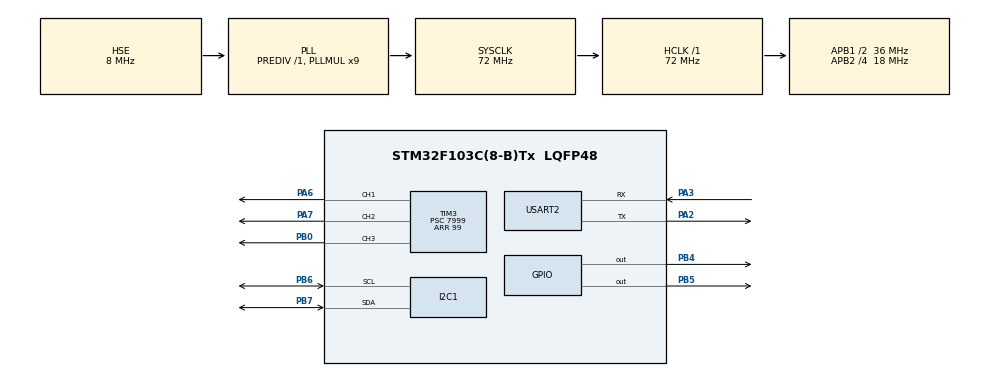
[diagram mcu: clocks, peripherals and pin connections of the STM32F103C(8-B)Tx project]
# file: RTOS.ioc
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FREERTOS.BinarySemaphores01=BinarySem_LCD_1,Dynamic,NULL;BinarySem_LCD_2,Dynamic,NULL;BinarySem_UART_1,Dynamic,NULL;BinarySem_UART_2,Dynamic,NULL;BinarySem_UART_3,Dynamic,NULL
FREERTOS.INCLUDE_uxTaskPriorityGet=1
FREERTOS.INCLUDE_vTaskDelete=1
FREERTOS.INCLUDE_vTaskPrioritySet=1
FREERTOS.INCLUDE_vTaskSuspend=1
FREERTOS.Mutexes01=UARTMutex,Dynamic,NULL
FREERTOS.Tasks01=Read_Sensor_MPU,24,128,Read_Sensor_MPUTask_func,Default,NULL,Dynamic,NULL,NULL;Read_Sensor_SHT,24,128,Read_Sensor_SHT21Task_func,Default,NULL,Dynamic,NULL,NULL;Show_LCD1602,24,128,Show_LCD1602_Task_func,Default,NULL,Dynamic,NULL,NULL;Send_UART,24,128,Send_UART_Task_func,Default,NULL,Dynamic,NULL,NULL
FREERTOS.configMINIMAL_STACK_SIZE=128
Mcu.Family=STM32F1
Mcu.Name=STM32F103C(8-B)Tx
Mcu.Package=LQFP48
NVIC.PriorityGroup=NVIC_PRIORITYGROUP_4
NVIC.TIM4_IRQn=true\:15\:0\:false\:false\:true\:false\:false\:true\:true
NVIC.TimeBase=TIM4_IRQn
NVIC.TimeBaseIP=TIM4
NVIC.USART2_IRQn=true\:5\:0\:false\:false\:true\:true\:true\:true\:true
PA13.Mode=Serial_Wire
PA13.Signal=SYS_JTMS-SWDIO
PA14.Mode=Serial_Wire
PA14.Signal=SYS_JTCK-SWCLK
PA2.Mode=Asynchronous
PA2.Signal=USART2_TX
PA3.Mode=Asynchronous
PA3.Signal=USART2_RX
PA6.Signal=S_TIM3_CH1
PA7.Signal=S_TIM3_CH2
PB0.Signal=S_TIM3_CH3
PB4.PinState=GPIO_PIN_SET
PB4.Signal=GPIO_Output
PB5.Signal=GPIO_Output
PB6.Mode=I2C
PB6.Signal=I2C1_SCL
PB7.Mode=I2C
PB7.Signal=I2C1_SDA
PD0-OSC_IN.Mode=HSE-External-Oscillator
PD0-OSC_IN.Signal=RCC_OSC_IN
PD1-OSC_OUT.Mode=HSE-External-Oscillator
PD1-OSC_OUT.Signal=RCC_OSC_OUT
ProjectManager.HeapSize=0x200
ProjectManager.StackSize=0x400
ProjectManager.TargetToolchain=MDK-ARM V5.32
RCC.ADCPresc=RCC_ADCPCLK2_DIV6
RCC.AHBFreq_Value=72000000
RCC.APB1CLKDivider=RCC_HCLK_DIV2
RCC.APB1Freq_Value=36000000
RCC.APB1TimFreq_Value=72000000
RCC.APB2CLKDivider=RCC_HCLK_DIV4
RCC.APB2Freq_Value=18000000
RCC.APB2TimFreq_Value=36000000
RCC.HCLKFreq_Value=72000000
RCC.PLLMUL=RCC_PLL_MUL9
RCC.PLLSourceVirtual=RCC_PLLSOURCE_HSE
RCC.SYSCLKFreq_VALUE=72000000
RCC.SYSCLKSource=RCC_SYSCLKSOURCE_PLLCLK
RCC.USBFreq_Value=72000000
SH.S_TIM3_CH1.0=TIM3_CH1,PWM Generation1 CH1
SH.S_TIM3_CH2.0=TIM3_CH2,PWM Generation2 CH2
SH.S_TIM3_CH3.0=TIM3_CH3,PWM Generation3 CH3
TIM3.Channel-PWM\ Generation1\ CH1=TIM_CHANNEL_1
TIM3.Channel-PWM\ Generation2\ CH2=TIM_CHANNEL_2
TIM3.Channel-PWM\ Generation3\ CH3=TIM_CHANNEL_3
TIM3.Period=99
TIM3.Prescaler=7999
USART2.VirtualMode=VM_ASYNC
VP_FREERTOS_VS_CMSIS_V2.Mode=CMSIS_V2
VP_SYS_VS_tim4.Mode=TIM4
VP_TIM3_VS_ClockSourceINT.Mode=Internal
board=custom

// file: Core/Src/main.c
/* USER CODE BEGIN Header */
/**
  ******************************************************************************
  * @file           : main.c
  * @brief          : Main program body
  ******************************************************************************
  * @attention
  *
  * Copyright (c) 2023 STMicroelectronics.
  * All rights reserved.
  *
  * This software is licensed under terms that can be found in the LICENSE file
  * in the root directory of this software component.
  * If no LICENSE file comes with this software, it is provided AS-IS.
  *
  ******************************************************************************
	*Embedded Design System Project
	*Developer: Phan Duc Manh 20202452
	*
  */
/* USER CODE END Header */
#include "main.h"
#include "cmsis_os.h"

/* USER CODE BEGIN Includes */

/*
			Peripheral
*/
#include "sht2x.h"
#include "i2c-lcd.h"
#include "mpu6050.h"
#include "flash.h"
#include "setScheduler.h"

/*
			Command handle
*/
#include "uart.h"

/* USER CODE END Includes */

I2C_HandleTypeDef hi2c1;

TIM_HandleTypeDef htim3;

UART_HandleTypeDef huart2;

/* Definitions for Read_Sensor_MPU */
osThreadId_t Read_Sensor_MPUHandle;
const osThreadAttr_t Read_Sensor_MPU_attributes = {
  .name = "Read_Sensor_MPU",
  .stack_size = 128 * 4,
  .priority = (osPriority_t) osPriorityNormal,
};
/* Definitions for Read_Sensor_SHT */
osThreadId_t Read_Sensor_SHTHandle;
const osThreadAttr_t Read_Sensor_SHT_attributes = {
  .name = "Read_Sensor_SHT",
  .stack_size = 128 * 4,
  .priority = (osPriority_t) osPriorityNormal,
};
/* Definitions for Show_LCD1602 */
osThreadId_t Show_LCD1602Handle;
const osThreadAttr_t Show_LCD1602_attributes = {
  .name = "Show_LCD1602",
  .stack_size = 128 * 4,
  .priority = (osPriority_t) osPriorityNormal,
};
/* Definitions for Send_UART */
osThreadId_t Send_UARTHandle;
const osThreadAttr_t Send_UART_attributes = {
  .name = "Send_UART",
  .stack_size = 128 * 4,
  .priority = (osPriority_t) osPriorityNormal,
};
/* Definitions for UARTMutex */
osMutexId_t UARTMutexHandle;
const osMutexAttr_t UARTMutex_attributes = {
  .name = "UARTMutex"
};
/* Definitions for BinarySem_LCD_1 */
osSemaphoreId_t BinarySem_LCD_1Handle;
const osSemaphoreAttr_t BinarySem_LCD_1_attributes = {
  .name = "BinarySem_LCD_1"
};
/* Definitions for BinarySem_LCD_2 */
osSemaphoreId_t BinarySem_LCD_2Handle;
const osSemaphoreAttr_t BinarySem_LCD_2_attributes = {
  .name = "BinarySem_LCD_2"
};
/* Definitions for BinarySem_UART_1 */
osSemaphoreId_t BinarySem_UART_1Handle;
const osSemaphoreAttr_t BinarySem_UART_1_attributes = {
  .name = "BinarySem_UART_1"
};
/* Definitions for BinarySem_UART_2 */
osSemaphoreId_t BinarySem_UART_2Handle;
const osSemaphoreAttr_t BinarySem_UART_2_attributes = {
  .name = "BinarySem_UART_2"
};
/* Definitions for BinarySem_UART_3 */
osSemaphoreId_t BinarySem_UART_3Handle;
const osSemaphoreAttr_t BinarySem_UART_3_attributes = {
  .name = "BinarySem_UART_3"
};
/* USER CODE BEGIN PV */
MPU6050_t MPU6050;
/* USER CODE END PV */

void SystemClock_Config(void);
static void MX_GPIO_Init(void);
static void MX_USART2_UART_Init(void);
static void MX_I2C1_Init(void);
static void MX_TIM3_Init(void);
void Read_Sensor_MPUTask_func(void *argument);
void Read_Sensor_SHT21Task_func(void *argument);
void Show_LCD1602_Task_func(void *argument);
void Send_UART_Task_func(void *argument);

/* USER CODE BEGIN 0 */

unsigned char temperature[30] = { 0 };
unsigned char position[16] = "Ax:0 Ay:0 Az:0";
unsigned char logs[30] = { 0 };
//unsigned char logs_para[100] = { 0 };
unsigned char data_tx[100] = { 0 };
uint8_t red = 0, green = 0, blue = 0;
static uint8_t dataRX;

/*  */

int flag_update;

#define ADDRESS_DATA_STORAGE_FLAG (0X800FFFE)

uint8_t D1 = 10, D2 = 100, D3 = 30 ,D4 = 20;
uint8_t Ph1 = 0, Ph2 = 0, Ph3 = 0, Ph4 = 0;
uint16_t T1 = 1000, T2 = 1000, T3 = 1000 ,T4 = 1000;

void HAL_UART_RxCpltCallback(UART_HandleTypeDef *huart)
{
	if (huart->Instance == huart2.Instance)
	{

		recv_data(dataRX);
		HAL_UART_Receive_IT(&huart2, &dataRX,1);
	}
}
//void SendDataOverUART( char *data) {
//  if (osMutexAcquire(UARTMutexHandle, osWaitForever) == osOK) {
//    HAL_UART_Transmit(&huart2, (uint8_t*)data, strlen(data), HAL_MAX_DELAY);
//    osMutexRelease(UARTMutexHandle);
//  }
//}
void SendDataOverUART(char *data) {
  // Acquire the UART mutex before transmitting data
  if (osMutexAcquire(UARTMutexHandle, osWaitForever) == osOK) {
    // Calculate the length of the data
    uint16_t length = strlen(data);

    // Iterate through each character in the data
    for (uint16_t i = 0; i < length; i++) {
      // Wait until the transmit data register is empty
      while (!(USART2->SR & USART_SR_TXE));

      // Load the data into the transmit data register
      USART2->DR = (uint8_t)data[i];
    }

    // Wait until all data is transmitted
    while (!(USART2->SR & USART_SR_TC));

    // Release the UART mutex after data transmission is complete
    osMutexRelease(UARTMutexHandle);
  }
}

/* USER CODE END 0 */

int main(void)
{

  /* MCU Configuration--------------------------------------------------------*/

  /* Reset of all peripherals, Initializes the Flash interface and the Systick. */
  HAL_Init();

  /* Configure the system clock */
  SystemClock_Config();

  /* Initialize all configured peripherals */
  MX_GPIO_Init();
  MX_USART2_UART_Init();
  MX_I2C1_Init();
  MX_TIM3_Init();
  /* USER CODE BEGIN 2 */

	flag_update =  Flash_Read_Int( ADDRESS_DATA_STORAGE_FLAG);

	if (flag_update != 0x0000FFFF)
	{
		D1 =  Flash_Read_Int( ADDRESS_DATA_STORAGE_D1);
		D2 =  Flash_Read_Int( ADDRESS_DATA_STORAGE_D2);
		D3 =  Flash_Read_Int( ADDRESS_DATA_STORAGE_D3);
		D4 =  Flash_Read_Int( ADDRESS_DATA_STORAGE_D4);

		Ph1 = Flash_Read_Int( ADDRESS_DATA_STORAGE_Ph1);
		Ph2 = Flash_Read_Int( ADDRESS_DATA_STORAGE_Ph2);
		Ph3 = Flash_Read_Int( ADDRESS_DATA_STORAGE_Ph3);
		Ph4 = Flash_Read_Int( ADDRESS_DATA_STORAGE_Ph4);

		T1 = Flash_Read_Int( ADDRESS_DATA_STORAGE_T1);
		T2 = Flash_Read_Int( ADDRESS_DATA_STORAGE_T2);
		T3 = Flash_Read_Int( ADDRESS_DATA_STORAGE_T3);
		T4 = Flash_Read_Int( ADDRESS_DATA_STORAGE_T4);
	}

	HAL_TIM_PWM_Start(&htim3,TIM_CHANNEL_1);
	HAL_TIM_PWM_Start(&htim3,TIM_CHANNEL_2);
	HAL_TIM_PWM_Start(&htim3,TIM_CHANNEL_3);

	HAL_UART_Receive_IT(&huart2, &dataRX,1);

	/*  MPU 6050 Init  */
	while (MPU6050_Init(&hi2c1) == 1)
	{
		SendDataOverUART("Init MPU 6050 failed\n");
	}
	/*  SHT21 Init  */
	SHT2x_Init(&hi2c1);

	SHT2x_SetResolution(RES_14_12);

	/*  LCD 1602 Init  */
	lcd_init();
  /* USER CODE END 2 */

  /* Init scheduler */
  osKernelInitialize();
  /* Create the mutex(es) */
  /* creation of UARTMutex */
  UARTMutexHandle = osMutexNew(&UARTMutex_attributes);

  /* Create the semaphores(s) */
  /* creation of BinarySem_LCD_1 */
  BinarySem_LCD_1Handle = osSemaphoreNew(1, 0, &BinarySem_LCD_1_attributes);

  /* creation of BinarySem_LCD_2 */
  BinarySem_LCD_2Handle = osSemaphoreNew(1, 0, &BinarySem_LCD_2_attributes);

  /* creation of BinarySem_UART_1 */
  BinarySem_UART_1Handle = osSemaphoreNew(1, 0, &BinarySem_UART_1_attributes);

  /* creation of BinarySem_UART_2 */
  BinarySem_UART_2Handle = osSemaphoreNew(1, 0, &BinarySem_UART_2_attributes);

  /* creation of BinarySem_UART_3 */
  BinarySem_UART_3Handle = osSemaphoreNew(1, 0, &BinarySem_UART_3_attributes);

  /* Create the thread(s) */
  /* creation of Read_Sensor_MPU */
  Read_Sensor_MPUHandle = osThreadNew(Read_Sensor_MPUTask_func, NULL, &Read_Sensor_MPU_attributes);

  /* creation of Read_Sensor_SHT */
  Read_Sensor_SHTHandle = osThreadNew(Read_Sensor_SHT21Task_func, NULL, &Read_Sensor_SHT_attributes);

  /* creation of Show_LCD1602 */
  Show_LCD1602Handle = osThreadNew(Show_LCD1602_Task_func, NULL, &Show_LCD1602_attributes);

  /* creation of Send_UART */
  Send_UARTHandle = osThreadNew(Send_UART_Task_func, NULL, &Send_UART_attributes);

  /* USER CODE BEGIN RTOS_EVENTS */
  /* add events, ... */
//	osSemaphoreAcquire(BinarySem_LCD_1Handle, portMAX_DELAY);
//	osSemaphoreAcquire(BinarySem_LCD_2Handle, portMAX_DELAY);
//	osSemaphoreAcquire(BinarySem_UART_1Handle, portMAX_DELAY);
//	osSemaphoreAcquire(BinarySem_UART_2Handle, portMAX_DELAY);
//	osSemaphoreAcquire(BinarySem_UART_3Handle, portMAX_DELAY);
  /* USER CODE END RTOS_EVENTS */

  /* Start scheduler */
  osKernelStart();

  /* We should never get here as control is now taken by the scheduler */
  /* Infinite loop */
  while (1)
  {

  }
}

void SystemClock_Config(void)
{
  RCC_OscInitTypeDef RCC_OscInitStruct = {0};
  RCC_ClkInitTypeDef RCC_ClkInitStruct = {0};

  /** Initializes the RCC Oscillators according to the specified parameters
  * in the RCC_OscInitTypeDef structure.
  */
  RCC_OscInitStruct.OscillatorType = RCC_OSCILLATORTYPE_HSE;
  RCC_OscInitStruct.HSEState = RCC_HSE_ON;
  RCC_OscInitStruct.HSEPredivValue = RCC_HSE_PREDIV_DIV1;
  RCC_OscInitStruct.HSIState = RCC_HSI_ON;
  RCC_OscInitStruct.PLL.PLLState = RCC_PLL_ON;
  RCC_OscInitStruct.PLL.PLLSource = RCC_PLLSOURCE_HSE;
  RCC_OscInitStruct.PLL.PLLMUL = RCC_PLL_MUL9;
  if (HAL_RCC_OscConfig(&RCC_OscInitStruct) != HAL_OK)
  {
    Error_Handler();
  }

  /** Initializes the CPU, AHB and APB buses clocks
  */
  RCC_ClkInitStruct.ClockType = RCC_CLOCKTYPE_HCLK|RCC_CLOCKTYPE_SYSCLK
                              |RCC_CLOCKTYPE_PCLK1|RCC_CLOCKTYPE_PCLK2;
  RCC_ClkInitStruct.SYSCLKSource = RCC_SYSCLKSOURCE_PLLCLK;
  RCC_ClkInitStruct.AHBCLKDivider = RCC_SYSCLK_DIV1;
  RCC_ClkInitStruct.APB1CLKDivider = RCC_HCLK_DIV2;
  RCC_ClkInitStruct.APB2CLKDivider = RCC_HCLK_DIV4;

  if (HAL_RCC_ClockConfig(&RCC_ClkInitStruct, FLASH_LATENCY_2) != HAL_OK)
  {
    Error_Handler();
  }
}

static void MX_I2C1_Init(void)
{

  hi2c1.Instance = I2C1;
  hi2c1.Init.ClockSpeed = 100000;
  hi2c1.Init.DutyCycle = I2C_DUTYCYCLE_2;
  hi2c1.Init.OwnAddress1 = 0;
  hi2c1.Init.AddressingMode = I2C_ADDRESSINGMODE_7BIT;
  hi2c1.Init.DualAddressMode = I2C_DUALADDRESS_DISABLE;
  hi2c1.Init.OwnAddress2 = 0;
  hi2c1.Init.GeneralCallMode = I2C_GENERALCALL_DISABLE;
  hi2c1.Init.NoStretchMode = I2C_NOSTRETCH_DISABLE;
  if (HAL_I2C_Init(&hi2c1) != HAL_OK)
  {
    Error_Handler();
  }

}
//static void MX_TIM3_Init(void)
//{

//  /* USER CODE BEGIN TIM3_Init 0 */

//  /* USER CODE END TIM3_Init 0 */

//  TIM_ClockConfigTypeDef sClockSourceConfig = {0};
//  TIM_MasterConfigTypeDef sMasterConfig = {0};
//  TIM_OC_InitTypeDef sConfigOC = {0};

//  /* USER CODE BEGIN TIM3_Init 1 */

//  /* USER CODE END TIM3_Init 1 */
//  htim3.Instance = TIM3;
//  htim3.Init.Prescaler = 7999;
//  htim3.Init.CounterMode = TIM_COUNTERMODE_UP;
//  htim3.Init.Period = 99;
//  htim3.Init.ClockDivision = TIM_CLOCKDIVISION_DIV1;
//  htim3.Init.AutoReloadPreload = TIM_AUTORELOAD_PRELOAD_DISABLE;
//  if (HAL_TIM_Base_Init(&htim3) != HAL_OK)
//  {
//    Error_Handler();
//  }
//  sClockSourceConfig.ClockSource = TIM_CLOCKSOURCE_INTERNAL;
//  if (HAL_TIM_ConfigClockSource(&htim3, &sClockSourceConfig) != HAL_OK)
//  {
//    Error_Handler();
//  }
//  if (HAL_TIM_PWM_Init(&htim3) != HAL_OK)
//  {
//    Error_Handler();
//  }
//  sMasterConfig.MasterOutputTrigger = TIM_TRGO_RESET;
//  sMasterConfig.MasterSlaveMode = TIM_MASTERSLAVEMODE_DISABLE;
//  if (HAL_TIMEx_MasterConfigSynchronization(&htim3, &sMasterConfig) != HAL_OK)
//  {
//    Error_Handler();
//  }
//  sConfigOC.OCMode = TIM_OCMODE_PWM1;
//  sConfigOC.Pulse = 0;
//  sConfigOC.OCPolarity = TIM_OCPOLARITY_HIGH;
//  sConfigOC.OCFastMode = TIM_OCFAST_DISABLE;
//  if (HAL_TIM_PWM_ConfigChannel(&htim3, &sConfigOC, TIM_CHANNEL_1) != HAL_OK)
//  {
//    Error_Handler();
//  }
//  if (HAL_TIM_PWM_ConfigChannel(&htim3, &sConfigOC, TIM_CHANNEL_2) != HAL_OK)
//  {
//    Error_Handler();
//  }
//  if (HAL_TIM_PWM_ConfigChannel(&htim3, &sConfigOC, TIM_CHANNEL_3) != HAL_OK)
//  {
//    Error_Handler();
//  }
//  /* USER CODE BEGIN TIM3_Init 2 */

//  /* USER CODE END TIM3_Init 2 */
//  HAL_TIM_MspPostInit(&htim3);

//}

void MX_TIM3_Init(void)
{
  // Enable TIM3 clock
  RCC->APB1ENR |= RCC_APB1ENR_TIM3EN;
  TIM_ClockConfigTypeDef sClockSourceConfig = {0};
  TIM_MasterConfigTypeDef sMasterConfig = {0};
  TIM_OC_InitTypeDef sConfigOC = {0};

  htim3.Instance = TIM3;
  htim3.Init.Prescaler = 7999;
  htim3.Init.CounterMode = TIM_COUNTERMODE_UP;
  htim3.Init.Period = 99;
  htim3.Init.ClockDivision = TIM_CLOCKDIVISION_DIV1;
  htim3.Init.AutoReloadPreload = TIM_AUTORELOAD_PRELOAD_DISABLE;
  if (HAL_TIM_Base_Init(&htim3) != HAL_OK)
  {
    Error_Handler();
  }

  // Clear update flag

  // Set the prescaler and the ARR
  TIM3->PSC = 0x00001F3F; // Set PSC register
  TIM3->ARR = 0x00000063; // Set ARR register

  // Configure CCMR1 and CCMR2 registers
  TIM3->CCMR1 = 0x00006868;
  TIM3->CCMR2 = 0x00006868;

  // Clear other configuration registers
  TIM3->CR1 = 0;
  TIM3->CR2 = 0;
  TIM3->SMCR = 0;
  TIM3->DIER = 0;
  TIM3->EGR = 0;
  TIM3->CCER = 0;
  TIM3->CNT = 0;
  TIM3->CCR1 = 0;
  TIM3->CCR2 = 0;
  TIM3->CCR3 = 0;
  TIM3->CCR4 = 0;
  TIM3->DCR = 0;
  TIM3->DMAR = 0;
	HAL_TIM_MspPostInit(&htim3);
}
static void MX_USART2_UART_Init(void)
{

  huart2.Instance = USART2;
  huart2.Init.BaudRate = 115200;
  huart2.Init.WordLength = UART_WORDLENGTH_8B;
  huart2.Init.StopBits = UART_STOPBITS_1;
  huart2.Init.Parity = UART_PARITY_NONE;
  huart2.Init.Mode = UART_MODE_TX_RX;
  huart2.Init.HwFlowCtl = UART_HWCONTROL_NONE;
  huart2.Init.OverSampling = UART_OVERSAMPLING_16;
  if (HAL_UART_Init(&huart2) != HAL_OK)
  {
    Error_Handler();
  }

}

static void MX_GPIO_Init(void)
{
  GPIO_InitTypeDef GPIO_InitStruct = {0};

  /* GPIO Ports Clock Enable */
  __HAL_RCC_GPIOD_CLK_ENABLE();
  __HAL_RCC_GPIOA_CLK_ENABLE();
  __HAL_RCC_GPIOB_CLK_ENABLE();

  /*Configure GPIO pin Output Level */
  HAL_GPIO_WritePin(GPIOB, GPIO_PIN_4, GPIO_PIN_SET);

  /*Configure GPIO pin Output Level */
  HAL_GPIO_WritePin(GPIOB, GPIO_PIN_5, GPIO_PIN_RESET);

  /*Configure GPIO pins : PB4 PB5 */
  GPIO_InitStruct.Pin = GPIO_PIN_4|GPIO_PIN_5;
  GPIO_InitStruct.Mode = GPIO_MODE_OUTPUT_PP;
  GPIO_InitStruct.Pull = GPIO_NOPULL;
  GPIO_InitStruct.Speed = GPIO_SPEED_FREQ_LOW;
  HAL_GPIO_Init(GPIOB, &GPIO_InitStruct);

}

void Read_Sensor_MPUTask_func(void *argument)
{
  /* USER CODE BEGIN 5 */
  /* Infinite loop */
//	sprintf(logs_para, "D1: %d D2: %d D3: %d D4: %d Ph1: %d Ph2: %d Ph3: %d Ph4: %d, T1: %d, T2: %d, T3: %d, T4: %d",D1,D2,D3,D4,Ph1,Ph2,Ph3,Ph4,T1,T2,T3,T4);
//	SendDataOverUART(logs_para);
	/* Intial Phase of Task */
	osDelay(Ph1);
  for(;;)
  {
		/*	Get current tick of kernel	 */
		uint32_t previous_wake_time = osKernelGetTickCount();
		/* Read sensor MPU 6050 */

		MPU6050_Read_Accel(&hi2c1, &MPU6050);
//		/*	Update this  value of Ax, Ay, Az	*/
		sprintf((char *)position,
		"%0.1f %0.1f %0.1f", MPU6050.Ax,MPU6050.Ay,MPU6050.Az);

		/* Set up the period time */

		if (osMutexAcquire(UARTMutexHandle, osWaitForever) == osOK)
		{
			sprintf((char *)logs, "@%d Task 1 is running\n", previous_wake_time);
			osMutexRelease(UARTMutexHandle);
		}
		/*	Print to serial monitor time which task 1 starts	*/
		SendDataOverUART((char *)logs);

		/*	Give 1 semaphore for synchronize LCD	*/
		osSemaphoreRelease(BinarySem_LCD_1Handle);

		/*	Give 1 semaphore for synchronize UART	*/
    osSemaphoreRelease(BinarySem_UART_1Handle);

		/*	Set precision time which task blocked	*/
		previous_wake_time += T1;
		osDelayUntil(previous_wake_time);
//    osDelay(T1);
  }
  /* USER CODE END 5 */
}

void Read_Sensor_SHT21Task_func(void *argument)
{
  /* USER CODE BEGIN Read_Sensor_SHT21Task_func */
  /* Infinite loop */

	/* Intial Phase of Task */
	osDelay(Ph2);
  for(;;)
  {
		uart_handle();
		/*	Get current tick of kernel	 */
		uint32_t previous_wake_time = osKernelGetTickCount();
		/* Set up the period time */
		/*	Print to serial monitor time which task 2 starts	*/
		if (osMutexAcquire(UARTMutexHandle, osWaitForever) == osOK)
		{
			sprintf((char *)logs, "@%d Task 2 is running\n", previous_wake_time);
			osMutexRelease(UARTMutexHandle);
		}

		SendDataOverUART((char *)logs);

		/*	Read value temp and humidity in sensor	*/
		float cel = SHT2x_GetTemperature(1);
		float rh = SHT2x_GetRelativeHumidity(1);
		/*	The func which aim to receive command line in UART and execute this command	*/
		/*	Update this  value of temperature and humidity	*/
		sprintf((char *)temperature, "T:%d.%dC H:%d.%d%% RH", SHT2x_GetInteger(cel), SHT2x_GetDecimal(cel, 1), SHT2x_GetInteger(rh), SHT2x_GetDecimal(rh, 1));

		/*	Give 1 semaphore for synchronize LCD	*/
		osSemaphoreRelease(BinarySem_LCD_2Handle);

		/*	Give 1 semaphore for synchronize UART	*/
    osSemaphoreRelease(BinarySem_UART_2Handle);

		/*	Set precision time which task blocked	*/
		previous_wake_time += T2;
		osDelayUntil(previous_wake_time);
//    osDelay(T2);
  }
  /* USER CODE END Read_Sensor_SHT21Task_func */
}

void Show_LCD1602_Task_func(void *argument)
{
  /* USER CODE BEGIN Show_LCD1602_Task_func */
  /* Infinite loop */
	//lcd_init();
	/* Intial Phase of Task */
	osDelay(Ph3);
  for(;;)
  {
		/*	Waiting for two bianry semaphore for synchronize LCD from task 1 and task 2	*/
		if (osSemaphoreAcquire(BinarySem_LCD_1Handle, Ph1 + D1) == osOK
		&& osSemaphoreAcquire(BinarySem_LCD_2Handle, Ph2 + D2) == osOK)
		{
			/*	Get current tick of kernel	 */
			uint32_t previous_wake_time = osKernelGetTickCount();

			sprintf((char *)logs, "@%d Task 3 is running\n", previous_wake_time);
			/*	Print to serial monitor time which task 3 starts	*/
			SendDataOverUART((char *)logs);

			/* LCD print temperature and humidity in first line your string */
			lcd_goto_XY(1,0);
			lcd_send_string((char *)temperature);
			/* LCD print Ax Ay Az of sensor MPU 6050 in second line your string */
			lcd_goto_XY(2,0);
			lcd_send_string((char *)position);

			/*	Give 1 semaphore for synchronize UART	*/
			osSemaphoreRelease(BinarySem_UART_3Handle);

			/*	Set precision time which task blocked	*/
			previous_wake_time += T3;
			osDelayUntil(previous_wake_time);
		}

//		osDelay(T3);
  }
  /* USER CODE END Show_LCD1602_Task_func */
}

void Send_UART_Task_func(void *argument)
{
  /* USER CODE BEGIN Send_UART_Task_func */
  /* Infinite loop */

	/* Intial Phase of Task */
	osDelay(Ph4);
  for(;;)
  {
		/*	Waiting for three bianry semaphore for synchronize UART from task 1, task 2 and task 3	*/
		if (osSemaphoreAcquire(BinarySem_UART_1Handle, osWaitForever) == osOK
    && osSemaphoreAcquire(BinarySem_UART_2Handle, osWaitForever) == osOK
    && osSemaphoreAcquire(BinarySem_UART_3Handle, osWaitForever) == osOK)
		{
			/*	Get current tick of kernel	 */
			uint32_t previous_wake_time = osKernelGetTickCount();

			sprintf((char *)logs, "@%d Task 4 is running\n", previous_wake_time);
			/*	Print to serial monitor time which task 3 starts	*/
			SendDataOverUART((char *)logs);

			/*		*/
			sprintf((char *)data_tx,
				"UART send to computer:\n%s \n%.1f %1.f %.1f \nred: %d green: %d blue: %d\n", temperature,  MPU6050.Ax, MPU6050.Ay, MPU6050.Az, red, green, blue);
			SendDataOverUART((char *)data_tx);

			/*	Set precision time which task blocked	*/
			previous_wake_time += T4;
			osDelayUntil(previous_wake_time);
		}

//    osDelay(T4);
  }
  /* USER CODE END Send_UART_Task_func */
}

void HAL_TIM_PeriodElapsedCallback(TIM_HandleTypeDef *htim)
{
  if (htim->Instance == TIM4) {
    HAL_IncTick();
  }
}

void Error_Handler(void)
{
  __disable_irq();
  while (1)
  {
  }
}
